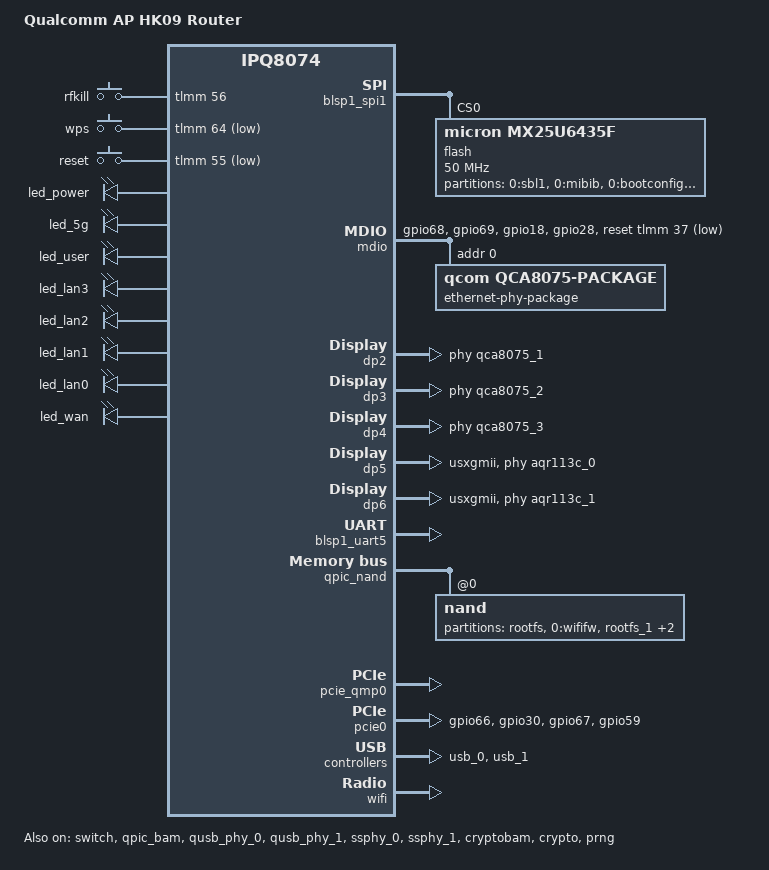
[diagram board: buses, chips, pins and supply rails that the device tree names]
// SPDX-License-Identifier: GPL-2.0-or-later OR MIT

/dts-v1/;

#include "ipq8074.dtsi"
#include "ipq8074-ess.dtsi"
#include "ipq8074-nss.dtsi"
#include "ipq8074-hk-cpu.dtsi"
#include <dt-bindings/input/input.h>
#include <dt-bindings/gpio/gpio.h>
#include <dt-bindings/leds/common.h>

/ {
	model = "Qualcomm AP HK09 Router";
	compatible = "qualcomm,hk09", "qcom,ipq807x-hk09", "qcom,ipq8074";

	aliases {
		serial0 = &blsp1_uart5;
		label-mac-device = &dp5;
	};

	chosen {
		stdout-path = "serial0:115200n8";
		bootargs-append = " coherent_pool=2M swiotlb=noforce";
	};

	keys {
		compatible = "gpio-keys";

		rfkill-button {
			label = "rfkill";
			gpios = <&tlmm 56 GPIO_ACTIVE_HIGH>;
			linux,code = <KEY_RFKILL>;
		};

		wps-button {
			label = "wps";
			linux,code = <KEY_WPS_BUTTON>;
			gpios = <&tlmm 64 GPIO_ACTIVE_LOW>;
			};

		reset-button {
			label = "reset";
			linux,code = <KEY_RESTART>;
			gpios = <&tlmm 55 GPIO_ACTIVE_LOW>;
		};
	};

	leds {
		compatible = "gpio-leds";
		pinctrl-0 = <&led_pins>;
		pinctrl-names = "default";

		power: led_power {
			label = "led_power";
			gpio = <&tlmm 27 GPIO_ACTIVE_HIGH>;
		};

		led_5g {
			label = "led_5g";
			gpio = <&tlmm 20 GPIO_ACTIVE_HIGH>;
			default-state = "off";
		};

		led_user {
			label = "led_user ";
			gpio = <&tlmm 32 GPIO_ACTIVE_HIGH>;
			default-state = "off";
		};

		led_lan3 {
			label = "led_lan3";
			gpio = <&tlmm 48 GPIO_ACTIVE_HIGH>;
			default-state = "off";
		};

		led_lan2 {
			label = "led_lan2";
			gpio = <&tlmm 50 GPIO_ACTIVE_HIGH>;
			default-state = "off";
		};

		led_lan1 {
			label = "led_lan1";
			gpio = <&tlmm 51 GPIO_ACTIVE_HIGH>;
			default-state = "off";
		};

		led_lan0 {
			label = "led_lan0";
			gpio = <&tlmm 52 GPIO_ACTIVE_HIGH>;
			default-state = "off";
		};

		led_wan {
			label = "led_wan";
			gpio = <&tlmm 54 GPIO_ACTIVE_HIGH>;
			default-state = "off";
		};
	};
};

&tlmm {
	pcie_sdx_gpio: pcie_sdx_gpio {

		sdx_power_gpio {
			pins = "gpio66";
			function = "gpio";
			drive-strength = <8>;
			bias-none;
			output-high;
		};

		sdx_pon_gpio {
			pins = "gpio30";
			function = "gpio";
			drive-strength = <8>;
			bias-pull-up;
			output-low;
		};

		mdm2ap_err_ftl {
			pins = "gpio67";
			function = "gpio";
			drive-strength = <8>;
			bias-pull-down;
		};

	};

	ap2mdm_status {
		pins = "gpio29";
		function = "gpio";
		drive-strength = <8>;
		bias-pull-up;
		output-high;
	};

	mdm2ap_e911_status {
		pins = "gpio60";
		drive-strength = <0x08>;
		bias-pull-down;
	};

	pcie0_wake_gpio: pcie0_wake_gpio {
		pins = "gpio59";
		function = "pcie0_wake";
		drive-strength = <8>;
		bias-pull-up;
	};

	mdio_pins: mdio-pins {
		mdc {
			pins = "gpio68";
			function = "mdc";
			drive-strength = <8>;
			bias-pull-up;
		};

		mdio {
			pins = "gpio69";
			function = "mdio";
			drive-strength = <8>;
			bias-pull-up;
		};

		mux_2 {
			pins = "gpio18";
			function = "gpio";
			drive-strength = <8>;
			bias-pull-up;
			output-high;
		};

		mux_3 {
			pins = "gpio28";
			function = "gpio";
			drive-strength = <8>;
			bias-pull-up;
			output-high;
		};

	};

	button_pins: button-state {
		wps-pins {
			pins = "gpio64";
			function = "gpio";
			drive-strength = <8>;
			bias-pull-up;
		};

		rst-pins {
			pins = "gpio55";
			function = "gpio";
			drive-strength = <8>;
			bias-pull-down;
		};

		rfkill-pins {
			pins = "gpio56";
			function = "gpio";
			drive-strength = <8>;
			bias-pull-down;
		};
	};

	led_pins: led-state {
		led_power {
			pins = "gpio27";
			function = "gpio";
			drive-strength = <8>;
			bias-pull-up;
		};

		led_5g {
			pins = "gpio20";
			function = "gpio";
			drive-strength = <8>;
			bias-pull-down;
		};

		led_user {
			pins = "gpio32";
			function = "gpio";
			drive-strength = <8>;
			bias-pull-down;
		};

		led_lan3 {
			pins = "gpio48";
			function = "gpio";
			drive-strength = <8>;
			bias-pull-down;
		};

		led_lan2 {
			pins = "gpio50";
			function = "gpio";
			drive-strength = <8>;
			bias-pull-down;
		};

		led_lan1 {
			pins = "gpio51";
			function = "gpio";
			drive-strength = <8>;
			bias-pull-down;
		};

		led_lan0 {
			pins = "gpio52";
			function = "gpio";
			drive-strength = <8>;
			bias-pull-down;
		};

		led_wan {
			pins = "gpio54";
			function = "gpio";
			drive-strength = <8>;
			bias-pull-down;
		};
	};
};

&blsp1_spi1 { /* BLSP1 QUP1 */
	pinctrl-0 = <&spi_0_pins>;
	pinctrl-names = "default";
	cs-gpios = <0>;
	status = "okay";

	flash@0 {
		#address-cells = <1>;
		#size-cells = <1>;
		reg = <0>;
		linux,modalias = "m25p80", "mx25u6435f", "mx30uf2g18ac", "n25q128a11";
		compatible = "micron, mx25u6435f", "jedec,spi-nor";
		spi-max-frequency = <50000000>;
		use-default-sizes;

		partitions {
			compatible = "fixed-partitions";
			#address-cells = <1>;
			#size-cells = <1>;

			partition@0 {
				label = "0:sbl1";
				reg = <0x0 0x50000>;
				read-only;
			};

			partition@50000 {
				label = "0:mibib";
				reg = <0x50000 0x10000>;
				read-only;
			};

			partition@60000 {
				label = "0:bootconfig";
				reg = <0x60000 0x20000>;
				read-only;
			};

			partition@80000 {
				label = "0:boogconfig1";
				reg = <0x1e0000 0x10000>;
				read-only;
			};

			partition@a0000 {
				label = "0:qsee";
				reg = <0xa0000 0x180000>;
				read-only;
			};

			partition@220000 {
				label = "0:qsee_1";
				reg = <0x220000 0x180000>;
				read-only;
			};

			partition@3a0000 {
				label = "0:devcfg";
				reg = <0x3a0000 0x10000>;
				read-only;
			};

			partition@3b0000 {
				label = "0:devcfg_1";
				reg = <0x3b0000 0x10000>;
			};

			partition@3c0000 {
				label = "0:apdp";
				reg = <0x3c0000 0x10000>;
				read-only;
			};

			partition@3d0000 {
				label = "0:apdp_1";
				reg = <0x3d0000 0x10000>;
				read-only;
			};

			partition@3e0000  {
				label = "0:rpm";
				reg = <0x3e0000  0x40000>;
				read-only;
			};

			partition@430000 {
				label = "0:rpm_1";
				reg = <0x430000 0x40000>;
			};

			partition@460000 {
				label = "0:cdt";
				reg = <0x460000 0x10000>;
			};

			partition@470000 {
				label = "0:cdt_1";
				reg = <0x470000 0x10000>;
			};

			partition@480000 {
				label = "0:appsblenv";
				reg = <0x480000 0x10000>;
			};

			partition@490000 {
				label = "0:appsbl";
				reg = <0x490000 0xa0000>;
			};

			partition@530000 {
				label = "0:appsbl_1";
				reg = <0x530000 0xa0000>;
			};

			partition@5d0000 {
				label = "0:art";
				reg = <0x5d0000 0x40000>;
			};

			partition@610000 {
				label = "0:ethphyfw";
				reg = <0x610000 0x80000>;
			};

			partition@690000 {
				label = "0:tzinfo";
				reg = <0x690000 0x10000>;
			};
		};
	};
};

&mdio {
	status = "okay";

	pinctrl-0 = <&mdio_pins>;
	pinctrl-names = "default";
	reset-gpios = <&tlmm 37 GPIO_ACTIVE_LOW>; /* QCA8075 RESET */

	ethernet-phy-package@0 {
		#address-cells = <1>;
		#size-cells = <0>;
		compatible = "qcom,qca8075-package";
		reg = <0>;

		qca8075_0: ethernet-phy@0 {
			compatible = "ethernet-phy-ieee802.3-c22";
			reg = <0>;
		};

		qca8075_1: ethernet-phy@1 {
			compatible = "ethernet-phy-ieee802.3-c22";
			reg = <1>;
		};

		qca8075_2: ethernet-phy@2 {
			compatible = "ethernet-phy-ieee802.3-c22";
			reg = <2>;
		};

		qca8075_3: ethernet-phy@3 {
			compatible = "ethernet-phy-ieee802.3-c22";
			reg = <3>;
		};

		aqr113c_0: ethernet-phy@4 {
			compatible = "ethernet-phy-ieee802.3-c45";
			reg = <6>;
			reset-deassert-us = <10000>;
			reset-gpios = <&tlmm 18 GPIO_ACTIVE_LOW>;
			firmware-name = "marvell/AQR107_0x6.cld";
			nvmem-cell-names = "firmware";
			nvmem-cells = <&aqr0_fw>;
		};

		aqr113c_1: ethernet-phy@5 {
			compatible = "ethernet-phy-ieee802.3-c45";
			reg = <7>;
			reset-deassert-us = <10000>;
			reset-gpios = <&tlmm 28 GPIO_ACTIVE_LOW>;
			firmware-name = "marvell/AQR107_0x7.cld";
			nvmem-cell-names = "firmware";
			nvmem-cells = <&aqr1_fw>;
		};
	};
};

&switch {
	status = "okay";

	switch_lan_bmp = <(ESS_PORT1 | ESS_PORT2 | ESS_PORT3 | ESS_PORT4 | ESS_PORT5)>; /* lan port bitmap */
	switch_wan_bmp = <ESS_PORT6>; /* wan port bitmap */
	switch_cpu_bmp = <ESS_PORT0>;  /* cpu port bitmap */
	switch_inner_bmp = <ESS_PORT7>; /*inner port bitmap*/
	switch_mac_mode = <MAC_MODE_PSGMII>; /* mac mode for uniphy instance0*/
	switch_mac_mode1 = <MAC_MODE_USXGMII>; /* mac mode for uniphy instance1*/
	switch_mac_mode2 = <MAC_MODE_USXGMII>; /* mac mode for uniphy instance2*/

	qcom,port_phyinfo {
		port@0 {
			port_id = <1>;
			phy_address = <0>;
		};

		port@1 {
			port_id = <2>;
			phy_address = <1>;
		};

		port@2 {
			port_id = <3>;
			phy_address = <2>;
		};

		port@3 {
			port_id = <4>;
			phy_address = <3>;
		};

		port@4 {
			port_id = <5>;
			phy_address = <6>;
			compatible = "ethernet-phy-ieee802.3-c45";
			ethernet-phy-ieee802.3-c45;
		};

		port@5 {
			port_id = <6>;
			phy_address = <7>;
			compatible = "ethernet-phy-ieee802.3-c45";
			ethernet-phy-ieee802.3-c45;
		};
	};
};

&edma {
	status = "okay";
};

/* Dummy LAN port */
&dp1 {
	status = "disabled";
	phy-handle = <&qca8075_0>;
	label = "lan4";
};

&dp2 {
	status = "okay";
	phy-handle = <&qca8075_1>;
	label = "lan3";
	nvmem-cells = <&macaddr_lan>;
	nvmem-cell-names = "mac-address";
};

&dp3 {
	status = "okay";
	phy-handle = <&qca8075_2>;
	label = "lan2";
	nvmem-cells = <&macaddr_lan>;
	nvmem-cell-names = "mac-address";
};

&dp4 {
	status = "okay";
	phy-handle = <&qca8075_3>;
	label = "lan1";
	nvmem-cells = <&macaddr_lan>;
	nvmem-cell-names = "mac-address";
};

&dp5 {
	status = "okay";
	qcom,mactype = <1>;
	phy-handle = <&aqr113c_0>;
	label = "wan";
	phy-mode = "usxgmii";
	nvmem-cells = <&macaddr_wan>;
	nvmem-cell-names = "mac-address";
};

&dp6 {
	status = "okay";
	qcom,mactype = <1>;
	phy-handle = <&aqr113c_1>;
	label = "lan0";
	phy-mode = "usxgmii";
	nvmem-cells = <&macaddr_lan>;
	nvmem-cell-names = "mac-address";
};

&blsp1_uart5 {
	status = "okay";
};

&qpic_bam {
	status = "okay";
};

&qpic_nand {
	status = "okay";

	/*
	 * Bootloader will find the NAND DT node by the compatible and
	 * then "fixup" it by adding the partitions from the SMEM table
	 * using the legacy bindings thus making it impossible for us
	 * to change the partition table or utilize NVMEM for calibration.
	 * So add a dummy partitions node that bootloader will populate
	 * and set it as disabled so the kernel ignores it instead of
	 * printing warnings due to the broken way bootloader adds the
	 * partitions.
	 */
	partitions {
		status = "disabled";
	};

	nand@0 {
		#address-cells = <1>;
		#size-cells = <1>;
		reg = <0>;
		nand-ecc-strength = <8>;
		nand-ecc-step-size = <512>;
		nand-bus-width = <8>;

		partitions {
			compatible = "fixed-partitions";
			#address-cells = <1>;
			#size-cells = <1>;

			partition@0 {
				label = "rootfs";
				reg = <0x0 0x1c200000>;
			};

			partition@1c200000 {
				label = "0:wififw";
				reg = <0x1c200000 0x1880000>;
			};

			partition@1da80000 {
				label = "rootfs_1";
				reg = <0x1da80000 0x1c200000>;
			};

			partition@39c80000 {
				label = "0:wififw_1";
				reg = <0x39c80000 0x1880000>;
			};

			partition@3b500000 {
				label = "0:ethphyfw_1";
				reg = <0x3b500000 0x100000>;

				nvmem-layout {
					compatible = "fixed-layout";
					#address-cells = <1>;
					#size-cells = <1>;

					macaddr_lan: macaddr@0 {
						reg = <0x0 0x6>;
					};

					macaddr_wan: macaddr@1 {
						reg = <0x6 0x6>;
					};

					aqr0_fw: firmware@24 {
						reg = <0x24 0x4c402>;
					};

					aqr1_fw: firmware@80024 {
						reg = <0x80024 0x4c402>;
					};
				};
			};

		};
	};
};

&qusb_phy_0 {
	status = "okay";
};

&qusb_phy_1 {
	status = "okay";
};

&pcie_qmp0 {
	status = "okay";
};

&pcie0 {
	status = "okay";
	perst-gpios = <&tlmm 58 GPIO_ACTIVE_LOW>;
	pinctrl-0 = <&pcie_sdx_gpio &pcie0_wake_gpio>;
	pinctrl-names = "default";
	e911-gpio = <&tlmm 33 GPIO_ACTIVE_HIGH>;
};

&ssphy_0 {
	status = "okay";
};

&ssphy_1 {
	status = "okay";
};

&usb_0 {
	status = "okay";
};

&usb_1 {
	status = "okay";
};

&wifi{
	status = "okay";

	qcom,ath11k-calibration-variant = "Qualcomm-HK09";
};

&cryptobam {
	status = "okay";
};

&crypto {
	status = "okay";
};

&prng {
	status = "okay";
};
